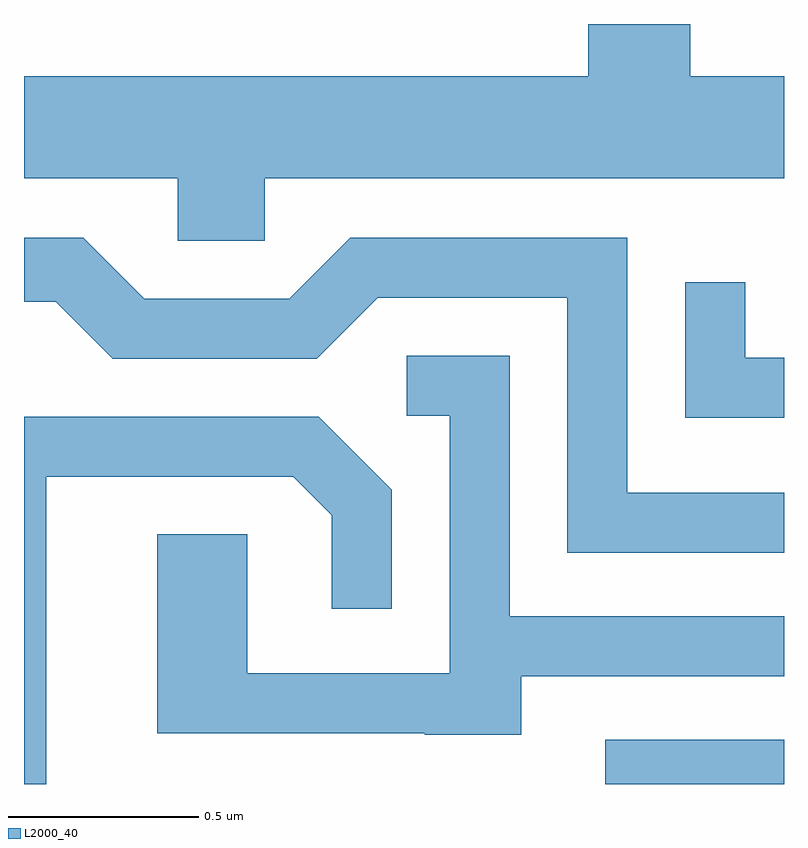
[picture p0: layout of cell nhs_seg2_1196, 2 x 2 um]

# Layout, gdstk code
import gdstk
lib = gdstk.Library(unit=1e-6, precision=1e-09)
def R(c, l, rs):  # rectangles x0, y0, x1, y1
    for r in rs: c.add(gdstk.rectangle(r[:2], r[2:], *l))
def P(c, l, *ps):  # polygons
    for p in ps: c.add(gdstk.Polygon(p, *l))
L2000_40 = (2000, 40)

nhs_seg2_1196 = lib.new_cell('nhs_seg2_1196')
R(nhs_seg2_1196, L2000_40, [(195.141,1077.802,195.611,1077.919)])
P(nhs_seg2_1196, L2000_40, [(194.244,1079.396),(195.611,1079.396),(195.611,1079.664),(195.364,1079.664),(195.364,1079.802),(195.096,1079.802),(195.096,1079.664),(193.611,1079.664),(193.611,1079.396),(194.016,1079.396),(194.016,1079.231),(194.244,1079.231)],
  [(195.611,1078.569),(195.199,1078.569),(195.199,1079.239),(194.469,1079.239),(194.309,1079.079),(193.927,1079.079),(193.767,1079.239),(193.611,1079.239),(193.611,1079.071),(193.694,1079.071),(193.844,1078.921),(194.382,1078.921),(194.542,1079.081),(195.041,1079.081),(195.041,1078.411),(195.611,1078.411)],
  [(195.611,1078.924),(195.509,1078.924),(195.509,1079.123),(195.351,1079.123),(195.351,1078.766),(195.611,1078.766)],
  [(194.919,1078.086),(195.611,1078.086),(195.611,1078.244),(194.889,1078.244),(194.889,1078.929),(194.618,1078.929),(194.618,1078.771),(194.731,1078.771),(194.731,1078.094),(194.199,1078.094),(194.199,1078.459),(193.961,1078.459),(193.961,1077.936),(194.665,1077.936),(194.665,1077.931),(194.919,1077.931)],
  [(193.669,1078.611),(194.319,1078.611),(194.421,1078.509),(194.421,1078.263),(194.579,1078.263),(194.579,1078.577),(194.387,1078.769),(193.611,1078.769),(193.611,1077.802),(193.669,1077.802)])

lib.write_gds('nhs_seg2_1196.gds')
